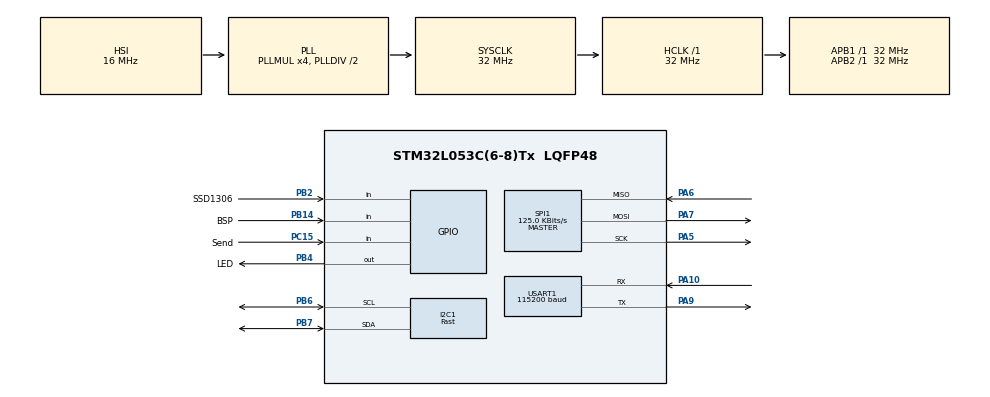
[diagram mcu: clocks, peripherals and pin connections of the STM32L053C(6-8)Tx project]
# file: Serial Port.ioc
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I2C1.I2C_Speed_Mode=I2C_Fast
I2C1.Timing=0x00300F38
Mcu.Family=STM32L0
Mcu.Name=STM32L053C(6-8)Tx
Mcu.Package=LQFP48
NVIC.USART1_IRQn=true\:0\:0\:false\:false\:true\:true\:true\:true
PA10.Mode=Asynchronous
PA10.Signal=USART1_RX
PA13.Mode=Serial_Wire
PA13.Signal=SYS_SWDIO
PA14.Mode=Serial_Wire
PA14.Signal=SYS_SWCLK
PA5.Mode=Full_Duplex_Master
PA5.Signal=SPI1_SCK
PA6.Mode=Full_Duplex_Master
PA6.Signal=SPI1_MISO
PA7.Mode=Full_Duplex_Master
PA7.Signal=SPI1_MOSI
PA9.Mode=Asynchronous
PA9.Signal=USART1_TX
PB14.GPIO_Label=BSP
PB14.GPIO_PuPd=GPIO_PULLUP
PB14.Signal=GPIO_Input
PB2.GPIO_Label=SSD1306
PB2.GPIO_PuPd=GPIO_PULLUP
PB2.Signal=GPIO_Input
PB4.GPIO_Label=LED
PB4.Signal=GPIO_Output
PB6.Mode=I2C
PB6.Signal=I2C1_SCL
PB7.Mode=I2C
PB7.Signal=I2C1_SDA
PC15-OSC32_OUT.GPIO_Label=Send
PC15-OSC32_OUT.GPIO_PuPd=GPIO_PULLUP
PC15-OSC32_OUT.Signal=GPIO_Input
ProjectManager.HeapSize=0x200
ProjectManager.StackSize=0x400
ProjectManager.TargetToolchain=STM32CubeIDE
RCC.ADCFreq_Value=16000000
RCC.AHBFreq_Value=32000000
RCC.APB1Freq_Value=32000000
RCC.APB1TimFreq_Value=32000000
RCC.APB2Freq_Value=32000000
RCC.APB2TimFreq_Value=32000000
RCC.HCLKFreq_Value=32000000
RCC.HSE_VALUE=8000000
RCC.HSI16_VALUE=16000000
RCC.HSI48MClockSelection=RCC_USBCLKSOURCE_HSI48
RCC.HSI48_VALUE=48000000
RCC.HSI_VALUE=16000000
RCC.LSE_VALUE=32768
RCC.MSI_VALUE=2097000
RCC.PLLMUL=RCC_PLLMUL_4
RCC.RTCClockSelectionVirtual=RCC_RTCCLKSOURCE_LSE
RCC.SYSCLKFreq_VALUE=32000000
RCC.SYSCLKSource=RCC_SYSCLKSOURCE_PLLCLK
RCC.Usart1ClockSelection=RCC_USART1CLKSOURCE_SYSCLK
RCC.Usart2ClockSelection=RCC_USART2CLKSOURCE_SYSCLK
RCC.VCOOutputFreq_Value=64000000
SPI1.BaudRatePrescaler=SPI_BAUDRATEPRESCALER_256
SPI1.CalculateBaudRate=125.0 KBits/s
SPI1.Direction=SPI_DIRECTION_2LINES
SPI1.Mode=SPI_MODE_MASTER
SPI1.VirtualType=VM_MASTER
USART1.BaudRate=115200
USART1.VirtualMode-Asynchronous=VM_ASYNC
board=STM32L0538-DISCO

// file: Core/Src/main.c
/* USER CODE BEGIN Header */
/**
  ******************************************************************************
  * @file           : main.c
  * @brief          : Main program body
  ******************************************************************************
  * @attention
  *
  * Copyright (c) 2025 STMicroelectronics.
  * All rights reserved.
  *
  * This software is licensed under terms that can be found in the LICENSE file
  * in the root directory of this software component.
  * If no LICENSE file comes with this software, it is provided AS-IS.
  *
  ******************************************************************************
  */
/* USER CODE END Header */
#include "main.h"

/* USER CODE BEGIN Includes */
#include "string.h"
#include "stdio.h"
#include <stdarg.h> //for va_list var arg functions
#include "math.h"
#include "gde021a1.h"
#include "stm32l0538_discovery.h"
#include "stm32l0538_discovery_epd.h"

#include "ssd1306_fonts.h"
#include "ssd1306.h"

/* USER CODE END Includes */

/* USER CODE BEGIN PTD */

int flaga = 0;
int k = 1;
uint8_t Logo_receive[2048] = {0};
//uint8_t buffer[2048] = {0};

uint8_t Logo[] = {
		0x00, 0x00, 0x00, 0x00, 0x00, 0x00, 0x00, 0x00, 0x00,
				0x00, 0x00, 0x00, 0x00, 0x00, 0x00, 0x00, 0x00, 0x00,
				0x00, 0x00, 0x00, 0x00, 0x00, 0x00, 0x00, 0x00, 0x00,
				0x00, 0x00, 0x00, 0x00, 0x00, 0x00, 0x00, 0x00, 0x00,
				0x00, 0x00, 0x00, 0xe0, 0xf3, 0xff, 0x3f, 0x00, 0x00,
				0x00, 0x00, 0xc0, 0xff, 0xff, 0xff, 0xff, 0x00, 0x00,
				0x00, 0x00, 0x80, 0x13, 0x04, 0x00, 0xe0, 0x00, 0x00,
				0x00, 0x00, 0x00, 0x14, 0x04, 0x00, 0xc0, 0x00, 0x00,
				0x00, 0x00, 0x00, 0x1c, 0x04, 0x00, 0xf0, 0x00, 0x00,
				0x00, 0x00, 0x00, 0x08, 0x1c, 0x00, 0x70, 0x00, 0x00,
				0x00, 0x00, 0x00, 0x08, 0xff, 0xff, 0x3f, 0x00, 0x00,
				0x00, 0x00, 0x00, 0x08, 0xfe, 0xff, 0x1f, 0x00, 0x00,
				0x00, 0x00, 0x00, 0x08, 0x04, 0x00, 0x00, 0x00, 0x00,
				0x00, 0x00, 0x00, 0x08, 0x06, 0x00, 0x00, 0x00, 0x00,
				0x00, 0x00, 0x00, 0x08, 0x02, 0x00, 0x00, 0x00, 0x00,
				0x00, 0x00, 0x00, 0x08, 0x02, 0x00, 0x00, 0x00, 0x00,
				0x00, 0x00, 0x70, 0x08, 0x01, 0x00, 0x00, 0x00, 0x00,
				0x00, 0x80, 0xff, 0x0b, 0x01, 0x00, 0x00, 0x00, 0x00,
				0x00, 0xc0, 0xff, 0x1f, 0x01, 0x00, 0x00, 0x00, 0x00,
				0x00, 0xe0, 0x7f, 0xff, 0x01, 0x00, 0x00, 0x00, 0x00,
				0x00, 0xf0, 0x00, 0xf0, 0x0f, 0x00, 0x00, 0x00, 0x00,
				0x00, 0x70, 0x00, 0x80, 0x1f, 0x00, 0x00, 0x00, 0x00,
				0xf8, 0x38, 0x00, 0x00, 0x1c, 0x00, 0x00, 0x00, 0x00,
				0x84, 0x39, 0x00, 0x00, 0x1c, 0x00, 0x00, 0x00, 0x00,
				0x04, 0x3d, 0x00, 0x00, 0x18, 0x00, 0x00, 0x00, 0x00,
				0x24, 0x3f, 0x00, 0x1c, 0x38, 0x00, 0x00, 0x00, 0x00,
				0x64, 0x3e, 0x88, 0x65, 0x38, 0x00, 0x00, 0x00, 0x00,
				0xc8, 0x1e, 0xf0, 0x87, 0x30, 0x80, 0x07, 0x00, 0x00,
				0x88, 0x1f, 0x00, 0x0f, 0x70, 0x00, 0x0c, 0x00, 0x00,
				0x18, 0x0e, 0x01, 0x0c, 0x60, 0x00, 0x07, 0x00, 0x00,
				0xf0, 0x0e, 0x03, 0x00, 0x60, 0xc0, 0x3f, 0x00, 0x00,
				0x80, 0x07, 0x1f, 0x00, 0x60, 0x00, 0xfc, 0x01, 0x00,
				0x00, 0x07, 0x1c, 0x00, 0x60, 0xf8, 0xf8, 0x03, 0x00,
				0x00, 0x87, 0xe0, 0x01, 0x60, 0x07, 0x8f, 0x1f, 0x00,
				0x00, 0x83, 0xe0, 0x03, 0xc0, 0x00, 0x98, 0x0f, 0x00,
				0x80, 0xc3, 0xe0, 0x07, 0x40, 0x00, 0x60, 0x05, 0x00,
				0x80, 0x43, 0xe0, 0x0f, 0x60, 0x00, 0x80, 0x3f, 0x00,
				0x80, 0x41, 0xe0, 0x7f, 0x60, 0x00, 0xf8, 0x0f, 0x00,
				0x80, 0x41, 0xe0, 0xff, 0x63, 0xba, 0x07, 0x3d, 0x00,
				0x80, 0x41, 0xe0, 0xff, 0x7f, 0x86, 0x84, 0x3f, 0x00,
				0xc0, 0x41, 0xe1, 0xff, 0x7f, 0x86, 0x87, 0x1f, 0x00,
				0xc0, 0x41, 0xe1, 0xff, 0x3f, 0x04, 0x80, 0x3f, 0x00,
				0xc0, 0x41, 0xe1, 0xff, 0x3f, 0x08, 0x80, 0x39, 0x00,
				0xc0, 0x41, 0xe2, 0xff, 0x2f, 0xd0, 0x83, 0x1d, 0x00,
				0xc0, 0x41, 0xe2, 0xff, 0x23, 0x10, 0x8e, 0x7f, 0x00,
				0xc0, 0x81, 0xe7, 0x7f, 0x30, 0x30, 0x8a, 0x7f, 0x00,
				0xc0, 0x81, 0xc5, 0x0f, 0x70, 0x60, 0xce, 0x3f, 0x00,
				0xc0, 0x81, 0xc4, 0x07, 0x50, 0x20, 0xe0, 0x39, 0x00,
				0xc0, 0x81, 0x88, 0x01, 0xf0, 0x10, 0xe0, 0x1f, 0x00,
				0xc0, 0x81, 0x08, 0x00, 0xf8, 0x30, 0xb0, 0x0d, 0x00,
				0xc0, 0x81, 0x08, 0x00, 0xb8, 0xc1, 0x97, 0x03, 0x00,
				0xc0, 0xc1, 0x08, 0x00, 0x38, 0xe1, 0x58, 0x01, 0x00,
				0xc0, 0x41, 0x08, 0x40, 0x38, 0x06, 0xee, 0x01, 0x00,
				0xc0, 0x61, 0xc8, 0x03, 0x18, 0xfc, 0xff, 0x00, 0x00,
				0xc0, 0xe1, 0x40, 0x06, 0x1c, 0xc0, 0x71, 0x00, 0x00,
				0xc0, 0x81, 0x40, 0x04, 0x1c, 0x00, 0x1f, 0x00, 0x00,
				0xe0, 0xc1, 0x40, 0x14, 0x1c, 0x80, 0x01, 0x00, 0x00,
				0xe0, 0x40, 0xc0, 0x17, 0x0e, 0x00, 0x00, 0x00, 0x00,
				0xc0, 0x40, 0x02, 0x17, 0x06, 0x00, 0x00, 0x00, 0x00,
				0xf0, 0x00, 0x02, 0x10, 0x06, 0x00, 0x00, 0x00, 0x00,
				0x18, 0x01, 0x1c, 0x08, 0x07, 0x00, 0x00, 0x00, 0x00,
				0xfc, 0x01, 0x70, 0x0c, 0x07, 0x00, 0x00, 0x00, 0x00,
				0x14, 0x02, 0xc0, 0x04, 0x03, 0x00, 0x00, 0x00, 0x00,
				0x14, 0x02, 0x80, 0x01, 0x03, 0x00, 0x00, 0x00, 0x00,
				0x04, 0x0f, 0x00, 0x80, 0x01, 0x00, 0x00, 0x00, 0x00,
				0xf4, 0x1d, 0x00, 0xc0, 0x03, 0x00, 0x00, 0x00, 0x00,
				0x1c, 0x78, 0x00, 0x60, 0x07, 0x00, 0x00, 0x00, 0x00,
				0x00, 0xf0, 0xc1, 0x9a, 0x07, 0x00, 0x00, 0x00, 0x00,
				0x00, 0xf0, 0xf3, 0x87, 0x07, 0x00, 0x00, 0x00, 0x00,
				0x00, 0xc0, 0xff, 0x07, 0x0f, 0x00, 0x00, 0x00, 0x00,
				0x00, 0x80, 0xbf, 0x07, 0x0e, 0x00, 0x00, 0x00, 0x00,
				0x00, 0x80, 0x7f, 0x0e, 0x0e, 0x00, 0x00, 0x00, 0x00,
				0x00, 0x00, 0x00, 0x0c, 0x8c, 0x07, 0x00, 0x00, 0x00,
				0x00, 0x00, 0x00, 0x7c, 0xcc, 0x0c, 0x00, 0x00, 0x00,
				0x00, 0x00, 0x00, 0xf8, 0x78, 0x08, 0x00, 0x00, 0x00,
				0x00, 0x00, 0x00, 0xf0, 0x08, 0x08, 0x00, 0x00, 0x00,
				0x00, 0x00, 0x00, 0xe0, 0x08, 0x0a, 0x00, 0x00, 0x00,
				0x00, 0x00, 0x00, 0xf0, 0x67, 0x0e, 0x00, 0x00, 0x00,
				0x00, 0x00, 0x00, 0x10, 0xac, 0x0f, 0x00, 0x00, 0x00,
				0x00, 0x00, 0x00, 0xf0, 0x3c, 0x03, 0x00, 0x00, 0x00,
				0x00, 0x00, 0x00, 0x00, 0x27, 0x00, 0x00, 0x00, 0x00,
				0x00, 0x00, 0x00, 0x00, 0x00, 0x00, 0x00, 0x00, 0x00,
				0x00, 0x00, 0x00, 0x00, 0x00, 0x00, 0x00, 0x00, 0x00,
				0x00, 0x00, 0x00, 0x00, 0x00, 0x00, 0x00, 0x00, 0x00,
				0x00, 0x00, 0x00, 0x00, 0x00, 0x00, 0x00, 0x00, 0x00,
				0x00, 0x00, 0x00, 0x00, 0x00, 0x00, 0x00, 0x00, 0x00,
				0x00, 0x00, 0x00, 0x00, 0x00, 0x00, 0x00, 0x00, 0x00,
				0x00, 0x00, 0x00, 0x00, 0x00, 0x00, 0x00, 0x00, 0x00,
				0x00, 0x00, 0x00, 0x0c, 0x00, 0x00, 0x00, 0x00, 0x00,
				0x00, 0x00, 0x00, 0xfc, 0xff, 0xff, 0x03, 0x00, 0x00,
				0x18, 0x00, 0x00, 0x8c, 0xff, 0xff, 0x03, 0x00, 0x00,
				0xec, 0x07, 0x00, 0x0c, 0x00, 0x00, 0x03, 0x00, 0x00,
				0x04, 0x78, 0x00, 0x0c, 0x00, 0x00, 0x03, 0x00, 0x00,
				0x04, 0x80, 0xff, 0x0f, 0x00, 0x00, 0x03, 0x00, 0x00,
				0x04, 0x00, 0x00, 0x0e, 0x00, 0x00, 0x03, 0x00, 0x00,
				0x04, 0x00, 0x00, 0x0c, 0x00, 0x00, 0x03, 0x00, 0x00,
				0x04, 0x00, 0x00, 0x0c, 0x00, 0x00, 0x03, 0x00, 0x00,
				0x04, 0x00, 0x00, 0x0c, 0x00, 0x00, 0x03, 0x00, 0x00,
				0x0c, 0x00, 0x00, 0x0c, 0x00, 0x00, 0x03, 0x00, 0x00,
				0x78, 0xf0, 0xff, 0x1f, 0x00, 0x00, 0x03, 0x00, 0x00,
				0xc0, 0x1f, 0x00, 0x1c, 0x00, 0x00, 0x03, 0x00, 0x00,
				0x00, 0x00, 0x00, 0x1c, 0x00, 0x00, 0x07, 0x00, 0x00,
				0x00, 0x00, 0x00, 0x1c, 0x00, 0x00, 0x07, 0x00, 0x00,
				0x00, 0x00, 0x00, 0x1c, 0x00, 0x00, 0x07, 0x00, 0x00,
				0x00, 0x00, 0x00, 0x0e, 0x00, 0x00, 0x0f, 0x00, 0x00,
				0x00, 0x00, 0xfc, 0x0f, 0x00, 0x00, 0x0e, 0x00, 0x00,
				0x00, 0xe0, 0x03, 0x0c, 0x00, 0x00, 0x0e, 0x00, 0x00,
				0x00, 0x1e, 0x00, 0x0c, 0x00, 0x00, 0x0e, 0x00, 0x00,
				0xc0, 0x01, 0x00, 0x0c, 0x00, 0x00, 0x06, 0x00, 0x00,
				0x60, 0x00, 0x00, 0x0c, 0x00, 0x00, 0x06, 0x00, 0x00,
				0x10, 0x00, 0x00, 0x0c, 0x00, 0x00, 0x06, 0x00, 0x00,
				0x10, 0x80, 0xff, 0x0f, 0x00, 0x00, 0x06, 0x00, 0x00,
				0x08, 0x70, 0x00, 0x0c, 0x00, 0x00, 0x06, 0x00, 0x00,
				0xf8, 0x0f, 0x00, 0x0c, 0x00, 0x00, 0x06, 0x00, 0x00,
				0x14, 0x00, 0x00, 0x0c, 0x00, 0x00, 0x06, 0x00, 0x00,
				0x14, 0x00, 0x00, 0x0c, 0x00, 0x00, 0x06, 0x00, 0x00,
				0x1c, 0x00, 0xe0, 0x0f, 0x00, 0x00, 0x06, 0x00, 0x00,
				0x18, 0x00, 0x1e, 0x0c, 0x00, 0x00, 0x06, 0x00, 0x00,
				0x10, 0xe0, 0x01, 0x0e, 0x00, 0x00, 0x06, 0x00, 0x00,
				0x10, 0x18, 0xf8, 0x0d, 0x00, 0x00, 0x06, 0x00, 0x00,
				0xf0, 0xcf, 0x07, 0x0e, 0x00, 0x00, 0x06, 0x00, 0x00,
				0x30, 0x3c, 0xf0, 0x0d, 0x00, 0x00, 0x06, 0x00, 0x00,
				0x10, 0x06, 0x1e, 0x0e, 0x00, 0x00, 0x07, 0x00, 0x00,
				0xb0, 0x81, 0x03, 0x0e, 0x00, 0x80, 0x07, 0x00, 0x00,
				0xe0, 0x60, 0x00, 0x0c, 0x00, 0xc0, 0x07, 0x00, 0x00,
				0x00, 0x18, 0x00, 0x1c, 0x00, 0xe0, 0x04, 0x00, 0x00,
				0x00, 0x06, 0x00, 0x1c, 0x00, 0x60, 0x04, 0x00, 0x00,
				0x00, 0x03, 0x00, 0x1c, 0x00, 0xc0, 0x00, 0x00, 0x00,
				0x80, 0x00, 0x00, 0x1c, 0x00, 0x80, 0x03, 0x00, 0x00,
				0x40, 0x00, 0x00, 0x1f, 0x00, 0x80, 0x03, 0x00, 0x00,
				0x20, 0x00, 0x80, 0x1c, 0x00, 0x00, 0x06, 0x00, 0x00,
				0x20, 0x00, 0x7c, 0x0c, 0x00, 0x00, 0x0e, 0x00, 0x00,
				0x20, 0x00, 0x03, 0x0c, 0x00, 0x00, 0x0c, 0x00, 0x00,
				0x30, 0xe0, 0x00, 0x0c, 0x00, 0x00, 0x38, 0x00, 0x00,
				0x10, 0x3c, 0x00, 0x0c, 0x00, 0x00, 0x38, 0x00, 0x00,
				0x90, 0x07, 0x00, 0x0c, 0x1c, 0x00, 0x30, 0x00, 0x00,
				0xd0, 0x00, 0x00, 0x0c, 0xff, 0x7f, 0x70, 0x00, 0x00,
				0x50, 0x00, 0x00, 0xcc, 0xff, 0x7f, 0xc0, 0x01, 0x00,
				0x50, 0x00, 0x00, 0xfc, 0x00, 0xe0, 0x80, 0x0f, 0x00,
				0x50, 0x00, 0x00, 0x3c, 0x00, 0xe0, 0x00, 0x3c, 0x00,
				0x70, 0x00, 0x00, 0x00, 0x00, 0xe0, 0x00, 0xe8, 0x01,
				0x60, 0x00, 0x00, 0x00, 0x00, 0xc0, 0x00, 0x10, 0x07,
				0x40, 0x00, 0x00, 0x00, 0x00, 0xc0, 0x00, 0xe0, 0x04,
				0x00, 0x00, 0x00, 0x00, 0x00, 0x80, 0x00, 0x80, 0x05,
				0x00, 0x00, 0x00, 0x00, 0x00, 0x80, 0x81, 0x07, 0x05,
				0x00, 0x00, 0x00, 0x00, 0x00, 0x80, 0x81, 0x8f, 0x05,
				0x00, 0x00, 0x00, 0x00, 0x00, 0xc0, 0x80, 0xc8, 0x04,
				0x00, 0x00, 0x00, 0x00, 0x00, 0x60, 0x00, 0x6f, 0x04,
				0x00, 0x00, 0x00, 0x00, 0x00, 0x38, 0x00, 0x20, 0x04,
				0x00, 0x00, 0x00, 0x00, 0x00, 0x1c, 0x00, 0x30, 0x04,
				0x00, 0x00, 0x00, 0x00, 0x00, 0x06, 0x00, 0x78, 0x06,
				0x00, 0x00, 0x00, 0x00, 0x00, 0x05, 0x00, 0xcc, 0x02,
				0x00, 0x00, 0x00, 0x00, 0xc0, 0x02, 0x00, 0x0e, 0x03,
				0x00, 0x00, 0x00, 0x00, 0xc0, 0x01, 0x00, 0x07, 0x00,
				0x00, 0x00, 0x00, 0x00, 0x80, 0x01, 0x00, 0x07, 0x00,
				0x00, 0x00, 0x00, 0x00, 0x80, 0x03, 0x80, 0x03, 0x00,
				0x00, 0x00, 0x00, 0x00, 0x00, 0x06, 0xdf, 0x03, 0x00,
				0x00, 0x00, 0x00, 0x00, 0x00, 0xcc, 0xff, 0x01, 0x00,
				0x00, 0x00, 0x00, 0x00, 0x00, 0x78, 0xe0, 0x01, 0x00,
				0x00, 0x00, 0x00, 0x00, 0x00, 0x30, 0xf0, 0x01, 0x00,
				0x00, 0x00, 0x00, 0x00, 0x00, 0xe0, 0xba, 0x01, 0x00,
				0x00, 0x00, 0x00, 0x00, 0x00, 0x80, 0x39, 0x00, 0x00,
				0x00, 0x00, 0x00, 0x00, 0x00, 0x00, 0x1f, 0x00, 0x00,
				0x00, 0x00, 0x00, 0x00, 0x00, 0x00, 0x0e, 0x00, 0x00,
				0x00, 0x00, 0x00, 0x00, 0x00, 0x00, 0x04, 0x00, 0x00,
				0x00, 0x00, 0x00, 0x00, 0x00, 0x00, 0x00, 0x00, 0x00,
				0x00, 0x00, 0x00, 0x00, 0x00, 0x00, 0x00, 0x00, 0x00,
				0x00, 0x00, 0x00, 0x00, 0x00, 0x00, 0x00, 0x00, 0x00,
				0x00, 0x00, 0x00, 0x00, 0x00, 0x00, 0x00, 0x00, 0x00,
				0x00, 0x00, 0x00, 0x00, 0x00, 0x00, 0x00, 0x00, 0x00,
				0x00, 0x00, 0x00, 0x00, 0x00, 0x00, 0x00, 0x00, 0x00,
				0x00, 0x00, 0x00, 0x00, 0x00, 0x00, 0x00, 0x00, 0x00,

};

uint8_t buffer[sizeof(Logo)]; // obszar pamieci o ulotnej zawartosci
/* USER CODE END PTD */

/* USER CODE BEGIN PD */
void clear_ssd1306();
void refreash_display();

void sendHexData(uint8_t *data, size_t size, UART_HandleTypeDef *huart) {
    char hexStr[sizeof(Logo)];
    for (int i = 0; i < size; i++) {
        snprintf(hexStr, sizeof(hexStr), "%2X", data[i]);
        HAL_UART_Transmit(huart, (uint8_t *)hexStr, 2, HAL_MAX_DELAY);
        HAL_UART_Transmit(huart, (uint8_t *)" ", 1, HAL_MAX_DELAY);
        if (k == 9)
                 {
                     printf("\r\n");
                     k = 0;
                 }
                 k++;
    }
}
/* USER CODE END PD */

I2C_HandleTypeDef hi2c1;

SPI_HandleTypeDef hspi1;

UART_HandleTypeDef huart1;

/* USER CODE BEGIN PV */
void myprintf(const char *fmt, ...);
int _write(int file, char *ptr, int len);
void USART2_Init(void);
void USART2_SendChar(char c);
char USART2_ReceiveChar(void);
/* USER CODE END PV */

void SystemClock_Config(void);
static void MX_GPIO_Init(void);
static void MX_USART1_UART_Init(void);
static void MX_SPI1_Init(void);
static void MX_I2C1_Init(void);

/* USER CODE BEGIN 0 */

/*
void myprintf(const char *fmt, ...)
{
  static char buffer2[256];
  va_list args;
  va_start(args, fmt);
  vsnprintf(buffer2, sizeof(buffer2), fmt, args);
  va_end(args);

  int len = strlen(buffer2);
  HAL_UART_Transmit(&huart1, (uint8_t*)buffer2, len, -1);

}
*/
void refreash_display(char tekst[])
{
	clear_ssd1306();
	ssd1306_SetCursor(0, 0);
	ssd1306_WriteString (tekst, Font_11x18, 1);
	HAL_Delay(10);
	ssd1306_UpdateScreen(); // Display
}

void clear_ssd1306()
{
	ssd1306_Fill(0);  // Wypełnij ekran czarnym kolorem
	ssd1306_UpdateScreen();
}

int _write(int file, char *ptr, int len)
{
    HAL_UART_Transmit(&huart1, (uint8_t*)ptr, len, HAL_MAX_DELAY);
    return len;
}
/* USER CODE END 0 */

int main(void)
{

  /* MCU Configuration--------------------------------------------------------*/

  /* Reset of all peripherals, Initializes the Flash interface and the Systick. */
  HAL_Init();

  /* Configure the system clock */
  SystemClock_Config();

  /* Initialize all configured peripherals */
  MX_GPIO_Init();
  MX_USART1_UART_Init();
  MX_SPI1_Init();
  MX_I2C1_Init();
  /* USER CODE BEGIN 2 */
  ssd1306_Init();
  HAL_Delay(100);
  ssd1306_SetCursor(0,0);
  HAL_UART_Receive_IT(&huart1, buffer, sizeof(buffer));
  /* USER CODE END 2 */

  /* Infinite loop */
  while (1)
  {

    /* USER CODE BEGIN 3 */

    if (HAL_GPIO_ReadPin(BSP_GPIO_Port, BSP_Pin) == GPIO_PIN_RESET)
       {
		HAL_GPIO_WritePin(LED_GPIO_Port, LED_Pin, GPIO_PIN_RESET);
		refreash_display("Default");
		BSP_EPD_Init();
		uint8_t a = 0;
		uint8_t b = 0;
		uint8_t c = 72;
		uint8_t d = 172;
		BSP_EPD_Clear(EPD_COLOR_WHITE);
		gde021a1_DrawImage(a, b, c, d, Logo);
		gde021a1_RefreshDisplay();
		HAL_Delay(1000);
       }

    else if (HAL_GPIO_ReadPin(Send_GPIO_Port, Send_Pin) == GPIO_PIN_RESET)
       {
		HAL_GPIO_WritePin(LED_GPIO_Port, LED_Pin, GPIO_PIN_RESET);
        HAL_Delay(50);
 	    printf("Image raw data...\r\n");
 	 	sendHexData(Logo, sizeof(Logo), &huart1);  // Wysyłamy pierwsze 16 bajtów w formacie hex
 	 	char newline[] = "\r\n";
 	 	HAL_UART_Transmit(&huart1, (uint8_t *)newline, sizeof(newline) - 1, HAL_MAX_DELAY);
 	 	printf("\r\nData have sent\r\n");
 	 	refreash_display("Sent data");
 	 	HAL_Delay(1000);
       }
	 else if (HAL_GPIO_ReadPin(SSD1306_GPIO_Port, SSD1306_Pin) == GPIO_PIN_RESET)
	   {
		HAL_GPIO_WritePin(LED_GPIO_Port, LED_Pin, GPIO_PIN_RESET);
		clear_ssd1306();
		ssd1306_SetCursor(0, 0);
		ssd1306_WriteString ("", Font_11x18, 1);
		HAL_Delay(10);
		ssd1306_UpdateScreen(); // Display
		HAL_GPIO_WritePin(LED_GPIO_Port, LED_Pin, GPIO_PIN_RESET);
		HAL_Delay(1000);
	   }
	  else if (flaga == 1)
	  {
		flaga = 0;
        refreash_display("Received");
		HAL_Delay(50);
        HAL_Delay(3000);
		BSP_EPD_Init();
		uint8_t a = 0;
		uint8_t b = 0;
		uint8_t c = 72;
		uint8_t d = 172;
		BSP_EPD_Clear(EPD_COLOR_WHITE);
		gde021a1_DrawImage(a, b, c, d, buffer);
		gde021a1_RefreshDisplay();
	  }
	  else
	  {
		HAL_GPIO_WritePin(LED_GPIO_Port, LED_Pin, GPIO_PIN_SET);
	  }
  }
  /* USER CODE END 3 */
}

void SystemClock_Config(void)
{
  RCC_OscInitTypeDef RCC_OscInitStruct = {0};
  RCC_ClkInitTypeDef RCC_ClkInitStruct = {0};
  RCC_PeriphCLKInitTypeDef PeriphClkInit = {0};

  /** Configure the main internal regulator output voltage
  */
  __HAL_PWR_VOLTAGESCALING_CONFIG(PWR_REGULATOR_VOLTAGE_SCALE1);

  /** Initializes the RCC Oscillators according to the specified parameters
  * in the RCC_OscInitTypeDef structure.
  */
  RCC_OscInitStruct.OscillatorType = RCC_OSCILLATORTYPE_HSI;
  RCC_OscInitStruct.HSIState = RCC_HSI_ON;
  RCC_OscInitStruct.HSICalibrationValue = RCC_HSICALIBRATION_DEFAULT;
  RCC_OscInitStruct.PLL.PLLState = RCC_PLL_ON;
  RCC_OscInitStruct.PLL.PLLSource = RCC_PLLSOURCE_HSI;
  RCC_OscInitStruct.PLL.PLLMUL = RCC_PLLMUL_4;
  RCC_OscInitStruct.PLL.PLLDIV = RCC_PLLDIV_2;
  if (HAL_RCC_OscConfig(&RCC_OscInitStruct) != HAL_OK)
  {
    Error_Handler();
  }

  /** Initializes the CPU, AHB and APB buses clocks
  */
  RCC_ClkInitStruct.ClockType = RCC_CLOCKTYPE_HCLK|RCC_CLOCKTYPE_SYSCLK
                              |RCC_CLOCKTYPE_PCLK1|RCC_CLOCKTYPE_PCLK2;
  RCC_ClkInitStruct.SYSCLKSource = RCC_SYSCLKSOURCE_PLLCLK;
  RCC_ClkInitStruct.AHBCLKDivider = RCC_SYSCLK_DIV1;
  RCC_ClkInitStruct.APB1CLKDivider = RCC_HCLK_DIV1;
  RCC_ClkInitStruct.APB2CLKDivider = RCC_HCLK_DIV1;

  if (HAL_RCC_ClockConfig(&RCC_ClkInitStruct, FLASH_LATENCY_1) != HAL_OK)
  {
    Error_Handler();
  }
  PeriphClkInit.PeriphClockSelection = RCC_PERIPHCLK_USART1|RCC_PERIPHCLK_I2C1;
  PeriphClkInit.Usart1ClockSelection = RCC_USART1CLKSOURCE_SYSCLK;
  PeriphClkInit.I2c1ClockSelection = RCC_I2C1CLKSOURCE_PCLK1;
  if (HAL_RCCEx_PeriphCLKConfig(&PeriphClkInit) != HAL_OK)
  {
    Error_Handler();
  }
}

static void MX_I2C1_Init(void)
{

  hi2c1.Instance = I2C1;
  hi2c1.Init.Timing = 0x00300F38;
  hi2c1.Init.OwnAddress1 = 0;
  hi2c1.Init.AddressingMode = I2C_ADDRESSINGMODE_7BIT;
  hi2c1.Init.DualAddressMode = I2C_DUALADDRESS_DISABLE;
  hi2c1.Init.OwnAddress2 = 0;
  hi2c1.Init.OwnAddress2Masks = I2C_OA2_NOMASK;
  hi2c1.Init.GeneralCallMode = I2C_GENERALCALL_DISABLE;
  hi2c1.Init.NoStretchMode = I2C_NOSTRETCH_DISABLE;
  if (HAL_I2C_Init(&hi2c1) != HAL_OK)
  {
    Error_Handler();
  }

  /** Configure Analogue filter
  */
  if (HAL_I2CEx_ConfigAnalogFilter(&hi2c1, I2C_ANALOGFILTER_ENABLE) != HAL_OK)
  {
    Error_Handler();
  }

  /** Configure Digital filter
  */
  if (HAL_I2CEx_ConfigDigitalFilter(&hi2c1, 0) != HAL_OK)
  {
    Error_Handler();
  }

}

static void MX_SPI1_Init(void)
{

  /* SPI1 parameter configuration*/
  hspi1.Instance = SPI1;
  hspi1.Init.Mode = SPI_MODE_MASTER;
  hspi1.Init.Direction = SPI_DIRECTION_2LINES;
  hspi1.Init.DataSize = SPI_DATASIZE_8BIT;
  hspi1.Init.CLKPolarity = SPI_POLARITY_LOW;
  hspi1.Init.CLKPhase = SPI_PHASE_1EDGE;
  hspi1.Init.NSS = SPI_NSS_SOFT;
  hspi1.Init.BaudRatePrescaler = SPI_BAUDRATEPRESCALER_256;
  hspi1.Init.FirstBit = SPI_FIRSTBIT_MSB;
  hspi1.Init.TIMode = SPI_TIMODE_DISABLE;
  hspi1.Init.CRCCalculation = SPI_CRCCALCULATION_DISABLE;
  hspi1.Init.CRCPolynomial = 7;
  if (HAL_SPI_Init(&hspi1) != HAL_OK)
  {
    Error_Handler();
  }

}

static void MX_USART1_UART_Init(void)
{

  huart1.Instance = USART1;
  huart1.Init.BaudRate = 115200;
  huart1.Init.WordLength = UART_WORDLENGTH_8B;
  huart1.Init.StopBits = UART_STOPBITS_1;
  huart1.Init.Parity = UART_PARITY_NONE;
  huart1.Init.Mode = UART_MODE_TX_RX;
  huart1.Init.HwFlowCtl = UART_HWCONTROL_NONE;
  huart1.Init.OverSampling = UART_OVERSAMPLING_16;
  huart1.Init.OneBitSampling = UART_ONE_BIT_SAMPLE_DISABLE;
  huart1.AdvancedInit.AdvFeatureInit = UART_ADVFEATURE_NO_INIT;
  if (HAL_UART_Init(&huart1) != HAL_OK)
  {
    Error_Handler();
  }

}

static void MX_GPIO_Init(void)
{
  GPIO_InitTypeDef GPIO_InitStruct = {0};

  /* GPIO Ports Clock Enable */
  __HAL_RCC_GPIOC_CLK_ENABLE();
  __HAL_RCC_GPIOA_CLK_ENABLE();
  __HAL_RCC_GPIOB_CLK_ENABLE();

  /*Configure GPIO pin Output Level */
  HAL_GPIO_WritePin(LED_GPIO_Port, LED_Pin, GPIO_PIN_RESET);

  /*Configure GPIO pin : Send_Pin */
  GPIO_InitStruct.Pin = Send_Pin;
  GPIO_InitStruct.Mode = GPIO_MODE_INPUT;
  GPIO_InitStruct.Pull = GPIO_PULLUP;
  HAL_GPIO_Init(Send_GPIO_Port, &GPIO_InitStruct);

  /*Configure GPIO pins : SSD1306_Pin BSP_Pin */
  GPIO_InitStruct.Pin = SSD1306_Pin|BSP_Pin;
  GPIO_InitStruct.Mode = GPIO_MODE_INPUT;
  GPIO_InitStruct.Pull = GPIO_PULLUP;
  HAL_GPIO_Init(GPIOB, &GPIO_InitStruct);

  /*Configure GPIO pin : LED_Pin */
  GPIO_InitStruct.Pin = LED_Pin;
  GPIO_InitStruct.Mode = GPIO_MODE_OUTPUT_PP;
  GPIO_InitStruct.Pull = GPIO_NOPULL;
  GPIO_InitStruct.Speed = GPIO_SPEED_FREQ_LOW;
  HAL_GPIO_Init(LED_GPIO_Port, &GPIO_InitStruct);

}

/* USER CODE BEGIN 4 */

void HAL_UART_RxCpltCallback(UART_HandleTypeDef *huart)
{
	if(huart->Instance == USART1)
		{
		 HAL_GPIO_WritePin(LED_GPIO_Port, LED_Pin, GPIO_PIN_RESET);
         HAL_UART_Receive_IT(&huart1, buffer, sizeof(buffer));
         flaga = 1;
		}
}

/* USER CODE END 4 */

void Error_Handler(void)
{
  __disable_irq();
  while (1)
  {
  }
}
